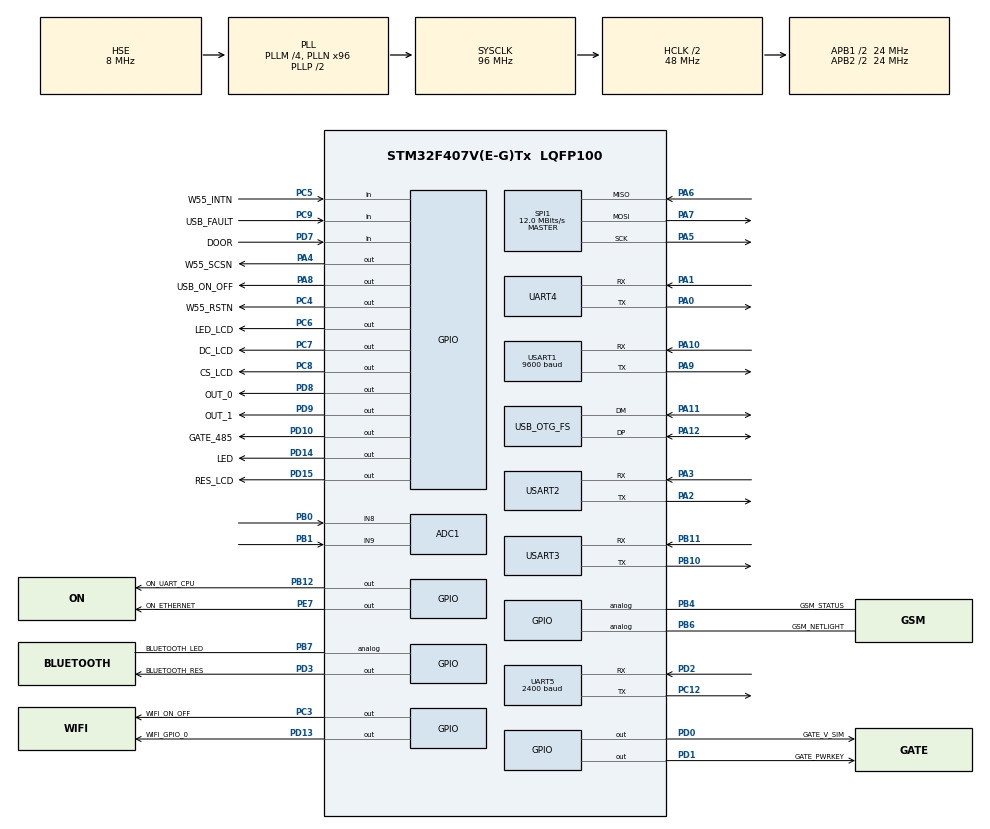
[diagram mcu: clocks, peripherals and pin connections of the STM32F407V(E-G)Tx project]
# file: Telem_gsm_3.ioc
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ADC1.Channel-1\#ChannelRegularConversion=ADC_CHANNEL_8
ADC1.Channel-2\#ChannelRegularConversion=ADC_CHANNEL_9
ADC1.Channel-3\#ChannelRegularConversion=ADC_CHANNEL_TEMPSENSOR
ADC1.InjNumberOfConversion=0
ADC1.NbrOfConversion=3
ADC1.NbrOfConversionFlag=1
ADC1.Rank-1\#ChannelRegularConversion=1
ADC1.Rank-2\#ChannelRegularConversion=2
ADC1.Rank-3\#ChannelRegularConversion=3
ADC1.SamplingTime-1\#ChannelRegularConversion=ADC_SAMPLETIME_144CYCLES
ADC1.SamplingTime-2\#ChannelRegularConversion=ADC_SAMPLETIME_144CYCLES
ADC1.SamplingTime-3\#ChannelRegularConversion=ADC_SAMPLETIME_144CYCLES
ADC1.ScanConvMode=ENABLE
ADC1.master=1
Dma.ADC1.2.Direction=DMA_PERIPH_TO_MEMORY
Dma.ADC1.2.FIFOMode=DMA_FIFOMODE_DISABLE
Dma.ADC1.2.Instance=DMA2_Stream0
Dma.ADC1.2.MemDataAlignment=DMA_MDATAALIGN_HALFWORD
Dma.ADC1.2.MemInc=DMA_MINC_ENABLE
Dma.ADC1.2.Mode=DMA_NORMAL
Dma.ADC1.2.PeriphDataAlignment=DMA_PDATAALIGN_HALFWORD
Dma.ADC1.2.PeriphInc=DMA_PINC_DISABLE
Dma.ADC1.2.Priority=DMA_PRIORITY_LOW
Dma.Request0=USART1_RX
Dma.Request1=USART1_TX
Dma.Request2=ADC1
Dma.USART1_RX.0.Direction=DMA_PERIPH_TO_MEMORY
Dma.USART1_RX.0.FIFOMode=DMA_FIFOMODE_DISABLE
Dma.USART1_RX.0.Instance=DMA2_Stream2
Dma.USART1_RX.0.MemDataAlignment=DMA_MDATAALIGN_BYTE
Dma.USART1_RX.0.MemInc=DMA_MINC_ENABLE
Dma.USART1_RX.0.Mode=DMA_NORMAL
Dma.USART1_RX.0.PeriphDataAlignment=DMA_PDATAALIGN_BYTE
Dma.USART1_RX.0.PeriphInc=DMA_PINC_DISABLE
Dma.USART1_RX.0.Priority=DMA_PRIORITY_LOW
Dma.USART1_TX.1.Direction=DMA_MEMORY_TO_PERIPH
Dma.USART1_TX.1.FIFOMode=DMA_FIFOMODE_DISABLE
Dma.USART1_TX.1.Instance=DMA2_Stream7
Dma.USART1_TX.1.MemDataAlignment=DMA_MDATAALIGN_BYTE
Dma.USART1_TX.1.MemInc=DMA_MINC_ENABLE
Dma.USART1_TX.1.Mode=DMA_NORMAL
Dma.USART1_TX.1.PeriphDataAlignment=DMA_PDATAALIGN_BYTE
Dma.USART1_TX.1.PeriphInc=DMA_PINC_DISABLE
Dma.USART1_TX.1.Priority=DMA_PRIORITY_LOW
IWDG.Prescaler=IWDG_PRESCALER_256
Mcu.Family=STM32F4
Mcu.Name=STM32F407V(E-G)Tx
Mcu.Package=LQFP100
NVIC.DMA2_Stream0_IRQn=true\:0\:0\:false\:false\:true\:false\:true\:true
NVIC.DMA2_Stream2_IRQn=true\:0\:0\:false\:false\:true\:false\:true\:true
NVIC.DMA2_Stream7_IRQn=true\:0\:0\:false\:false\:true\:false\:true\:true
NVIC.PriorityGroup=NVIC_PRIORITYGROUP_4
NVIC.TIM2_IRQn=true\:0\:0\:false\:false\:true\:true\:true\:true
NVIC.UART4_IRQn=true\:0\:0\:false\:false\:true\:true\:true\:true
NVIC.UART5_IRQn=true\:0\:0\:false\:false\:true\:true\:true\:true
NVIC.USART1_IRQn=true\:0\:0\:false\:false\:true\:true\:true\:true
NVIC.USART2_IRQn=true\:0\:0\:false\:false\:true\:true\:true\:true
NVIC.USART3_IRQn=true\:0\:0\:false\:false\:true\:true\:true\:true
NimaLTD.I-CUBE-ATC.4.2.2.ATC_DEBUG=ATC_DEBUG_ENABLE
NimaLTD.I-CUBE-ATC.4.2.2.DriverJjATC=true
PA0-WKUP.Mode=Asynchronous
PA0-WKUP.Signal=UART4_TX
PA1.Mode=Asynchronous
PA1.Signal=UART4_RX
PA10.Mode=Asynchronous
PA10.Signal=USART1_RX
PA11.Mode=Device_Only
PA11.Signal=USB_OTG_FS_DM
PA12.Mode=Device_Only
PA12.Signal=USB_OTG_FS_DP
PA13.Mode=Serial_Wire
PA13.Signal=SYS_JTMS-SWDIO
PA14.Mode=Serial_Wire
PA14.Signal=SYS_JTCK-SWCLK
PA2.Mode=Asynchronous
PA2.Signal=USART2_TX
PA3.Mode=Asynchronous
PA3.Signal=USART2_RX
PA4.GPIO_Label=W55_SCSN
PA4.GPIO_Speed=GPIO_SPEED_FREQ_MEDIUM
PA4.Signal=GPIO_Output
PA5.Mode=Full_Duplex_Master
PA5.Signal=SPI1_SCK
PA6.Mode=Full_Duplex_Master
PA6.Signal=SPI1_MISO
PA7.Mode=Full_Duplex_Master
PA7.Signal=SPI1_MOSI
PA8.GPIO_Label=USB_ON_OFF
PA8.Signal=GPIO_Output
PA9.Mode=Asynchronous
PA9.Signal=USART1_TX
PB0.Signal=ADCx_IN8
PB1.Signal=ADCx_IN9
PB10.Mode=Asynchronous
PB10.Signal=USART3_TX
PB11.Mode=Asynchronous
PB11.Signal=USART3_RX
PB12.GPIO_Label=ON_UART_CPU
PB12.Signal=GPIO_Output
PB4.GPIO_Label=GSM_STATUS
PB4.Signal=GPIO_Analog
PB6.GPIO_Label=GSM_NETLIGHT
PB6.GPIO_PuPd=GPIO_NOPULL
PB6.Signal=GPIO_Analog
PB7.GPIO_Label=BLUETOOTH_LED
PB7.Signal=GPIO_Analog
PC12.Mode=Asynchronous
PC12.Signal=UART5_TX
PC3.GPIO_Label=WIFI_ON_OFF
PC3.Signal=GPIO_Output
PC4.GPIO_Label=W55_RSTN
PC4.GPIO_Speed=GPIO_SPEED_FREQ_MEDIUM
PC4.Signal=GPIO_Output
PC5.GPIO_Label=W55_INTN
PC5.Signal=GPIO_Input
PC6.GPIO_Label=LED_LCD
PC6.Signal=GPIO_Output
PC7.GPIO_Label=DC_LCD
PC7.Signal=GPIO_Output
PC8.GPIO_Label=CS_LCD
PC8.Signal=GPIO_Output
PC9.GPIO_Label=USB_FAULT
PC9.Signal=GPIO_Input
PD0.GPIO_Label=GATE_V_SIM
PD0.GPIO_ModeDefaultOutputPP=GPIO_MODE_OUTPUT_PP
PD0.GPIO_PuPd=GPIO_NOPULL
PD0.PinState=GPIO_PIN_RESET
PD0.Signal=GPIO_Output
PD1.GPIO_Label=GATE_PWRKEY
PD1.Signal=GPIO_Output
PD10.GPIO_Label=GATE_485
PD10.GPIO_ModeDefaultOutputPP=GPIO_MODE_OUTPUT_OD
PD10.GPIO_PuPd=GPIO_NOPULL
PD10.PinState=GPIO_PIN_SET
PD10.Signal=GPIO_Output
PD13.GPIO_Label=WIFI_GPIO_0
PD13.Signal=GPIO_Output
PD14.GPIO_Label=LED
PD14.PinState=GPIO_PIN_RESET
PD14.Signal=GPIO_Output
PD15.GPIO_Label=RES_LCD
PD15.Signal=GPIO_Output
PD2.Mode=Asynchronous
PD2.Signal=UART5_RX
PD3.GPIO_Label=BLUETOOTH_RES
PD3.PinState=GPIO_PIN_SET
PD3.Signal=GPIO_Output
PD7.GPIO_Label=DOOR
PD7.Signal=GPIO_Input
PD8.GPIO_Label=OUT_0
PD8.Signal=GPIO_Output
PD9.GPIO_Label=OUT_1
PD9.Signal=GPIO_Output
PE7.GPIO_Label=ON_ETHERNET
PE7.PinState=GPIO_PIN_RESET
PE7.Signal=GPIO_Output
PH0-OSC_IN.Mode=HSE-External-Oscillator
PH0-OSC_IN.Signal=RCC_OSC_IN
PH1-OSC_OUT.Mode=HSE-External-Oscillator
PH1-OSC_OUT.Signal=RCC_OSC_OUT
ProjectManager.HeapSize=0x2000
ProjectManager.StackSize=0x1000
ProjectManager.TargetToolchain=STM32CubeIDE
RCC.48MHZClocksFreq_Value=48000000
RCC.AHBCLKDivider=RCC_SYSCLK_DIV2
RCC.AHBFreq_Value=48000000
RCC.APB1CLKDivider=RCC_HCLK_DIV2
RCC.APB1Freq_Value=24000000
RCC.APB1TimFreq_Value=48000000
RCC.APB2CLKDivider=RCC_HCLK_DIV2
RCC.APB2Freq_Value=24000000
RCC.APB2TimFreq_Value=48000000
RCC.CortexFreq_Value=48000000
RCC.HCLKFreq_Value=48000000
RCC.HSE_VALUE=8000000
RCC.HSI_VALUE=16000000
RCC.LSE_VALUE=32768
RCC.PLLM=4
RCC.PLLN=96
RCC.SYSCLKFreq_VALUE=96000000
RCC.SYSCLKSource=RCC_SYSCLKSOURCE_PLLCLK
RCC.VCOOutputFreq_Value=192000000
SH.ADCx_IN8.0=ADC1_IN8,IN8
SH.ADCx_IN9.0=ADC1_IN9,IN9
SPI1.CalculateBaudRate=12.0 MBits/s
SPI1.Direction=SPI_DIRECTION_2LINES
SPI1.Mode=SPI_MODE_MASTER
SPI1.VirtualType=VM_MASTER
TIM2.Period=50000
TIM2.Prescaler=4799
UART4.VirtualMode=Asynchronous
UART5.BaudRate=2400
UART5.VirtualMode=Asynchronous
USART1.BaudRate=9600
USART1.VirtualMode=VM_ASYNC
USART2.VirtualMode=VM_ASYNC
USART3.VirtualMode=VM_ASYNC
USB_OTG_FS.VirtualMode=Device_Only
VP_ADC1_TempSens_Input.Mode=IN-TempSens
VP_IWDG_VS_IWDG.Mode=IWDG_Activate
VP_NimaLTD.I-CUBE-ATC_VS_DriverJjATC_1.0.0_4.2.2.Mode=DriverJjATC
VP_TIM2_VS_ClockSourceINT.Mode=Internal
board=custom

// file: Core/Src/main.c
/* USER CODE BEGIN Header */
/**
  ******************************************************************************
  * @file           : main.c
  * @brief          : Main program body
  ******************************************************************************
  * @attention
  *
  * Copyright (c) 2024 STMicroelectronics.
  * All rights reserved.
  *
  * This software is licensed under terms that can be found in the LICENSE file
  * in the root directory of this software component.
  * If no LICENSE file comes with this software, it is provided AS-IS.
  *
  ******************************************************************************
  */
/* USER CODE END Header */
#include "main.h"
#include "adc.h"
#include "dma.h"
#include "iwdg.h"
#include "spi.h"
#include "tim.h"
#include "usart.h"
#include "usb_otg.h"
#include "gpio.h"

/* USER CODE BEGIN Includes */
#include "atc.h"
#include <stdio.h>
#include <string.h>
#include "station.h"

/* USER CODE END Includes */

/* USER CODE BEGIN PV */
//#############################################################
//UART_HandleTypeDef huart5; - RS485
//UART_HandleTypeDef huart1; - GSM
//UART_HandleTypeDef huart2; - Bluetooth
//UART_HandleTypeDef huart3; - uart-cpu

// Add atc.c str.365 =>     hAtc->Events = ev;

uint32_t  timer1 = 0;
uint32_t  timer2 = 0;
uint32_t  timer3 = 0;
uint32_t  timer4 = 0;

ATC_HandleTypeDef gsm;
int resp = 0;
int resp2 = 0;
int flag_sim800_error = 0;
int flagCommand2 = 0;
char command2[15] = {0,};
char strStation[15] = {0,};

void cbCommand2Receive(const char *str){
	flagCommand2 = 1;
	strncpy( command2, str, 14);
}

const ATC_EventTypeDef events[] = {
		{ "$2|", cbCommand2Receive },

};

struct telemetriaData telData;
char telString[130] = {0,};
char tempString[15] = {0,};

uint8_t rx_buff_fromStation[50] = {0,};
uint8_t temp_buff_fromStation[50] = {0,};
volatile uint8_t flagReceiveFromStation = 0;

//bluetooth module
uint8_t rx_buff_fromBluetooth[50] = {0,};

//flag adc
volatile uint8_t flagAdcDmaComplit = 0;
volatile uint16_t adc[3] = {0,}; //3 results
int u_bat = 0;
int u_5v = 0;
int temperature = 0;

//220
volatile uint8_t flagPower220 = 0;
volatile int u220 =0;
volatile int count_u220 =0;
int startAdcGetU220();

void sim800_power_on();
void sim800_power_off();
int reset_sim800_connect_to_server();

/* USER CODE END PV */

void SystemClock_Config(void);

/* USER CODE BEGIN 0 */
void HAL_UARTEx_RxEventCallback(UART_HandleTypeDef *huart, uint16_t Size){
	if( huart->Instance == USART1 ){
		ATC_IdleLineCallback(&gsm, Size);
	}

	if(huart->Instance == UART5){
		  uint16_t i;
		  for( i = 0; i < Size; i++){
			  temp_buff_fromStation[i] = rx_buff_fromStation[i];
		  }
		  temp_buff_fromStation[i] = '\n';
		  i++;
		  temp_buff_fromStation[i] = '\0';
		  flagReceiveFromStation = 1;

		  //delete
		  //printf( (char *)temp_buff_rs485 );

		  HAL_UARTEx_ReceiveToIdle_IT(&huart5, rx_buff_fromStation, 50);
	}

	// from Bluetooth
	if(huart->Instance == USART2){

		  //delete
		  printf( (char *)rx_buff_fromBluetooth );

		  HAL_UARTEx_ReceiveToIdle_IT(&huart2, rx_buff_fromBluetooth, 50);
	}
}

void HAL_ADC_ConvCpltCallback(ADC_HandleTypeDef* hadc) {
    if(hadc->Instance == ADC1) {
        flagAdcDmaComplit = 1;
    }
}

//void HAL_TIM_PeriodElapsedCallback(TIM_HandleTypeDef *htim)
//{
//        if(htim->Instance == TIM2) //check if the interrupt comes from TIM1
//        {
//                HAL_ResumeTick();
//                HAL_GPIO_TogglePin(LED_GPIO_Port, LED_Pin);
//        }
//}

/* USER CODE END 0 */

int main(void)
{

  /* MCU Configuration--------------------------------------------------------*/

  /* Reset of all peripherals, Initializes the Flash interface and the Systick. */
  HAL_Init();

  /* Configure the system clock */
  SystemClock_Config();

  /* Initialize all configured peripherals */
  MX_GPIO_Init();
  MX_DMA_Init();
  MX_TIM2_Init();
  MX_ADC1_Init();
  MX_USART2_UART_Init();
  MX_UART5_Init();
  MX_USART3_UART_Init();
  MX_USART1_UART_Init();
  MX_SPI1_Init();
  MX_UART4_Init();
  MX_USB_OTG_FS_PCD_Init();
  MX_IWDG_Init();
  /* USER CODE BEGIN 2 */

//------ Off all device ---------------------------------------------------------------

	printf( "\n =====> Start! \n\n" );

//
//	printf( "press button \n\n" );
//	HAL_Delay(5000);
//	HAL_UARTEx_ReceiveToIdle_IT(&huart2, rx_buff_fromBluetooth, 50);
//	HAL_Delay(100);
//	HAL_UART_Transmit(&huart2, (uint8_t *)"AT+SLEEPEN=1\r\n", 14, 200);
//	HAL_Delay(200);
//	HAL_UART_Transmit(&huart2, (uint8_t *)"AT+TS=1\r\n", 9, 200);

  	while(1){
  		u220 = startAdcGetU220();
  		if (u220 > 40) {
  			break;
  		}
  		HAL_Delay(500);
  		HAL_PWR_EnterSTANDBYMode();
  	}

//-------------------------------------------------------------------------------------
  //  //Ethernet on!
  //  HAL_GPIO_WritePin(ON_ETHERNET_GPIO_Port, ON_ETHERNET_Pin, GPIO_PIN_RESET);

    //Bluetooth Reset!
    HAL_GPIO_WritePin(GPIOD, BLUETOOTH_RES_Pin, GPIO_PIN_RESET);
    HAL_Delay(1000);
    HAL_GPIO_WritePin(GPIOD, BLUETOOTH_RES_Pin, GPIO_PIN_SET);

    //RS485 on!
    HAL_GPIO_WritePin(GPIOD, GATE_485_Pin, GPIO_PIN_RESET);
    //RS485 off!
    //HAL_GPIO_WritePin(GPIOD, GATE_485_Pin, GPIO_PIN_SET);

    //On Uart CPU
    HAL_GPIO_WritePin(ON_UART_CPU_GPIO_Port, ON_UART_CPU_Pin, GPIO_PIN_SET);

  ////  WIFI on
  //  HAL_GPIO_WritePin(GPIOC, WIFI_ON_OFF_Pin, GPIO_PIN_SET);
//-----------------------------------------------------------------------------------------

	HAL_UARTEx_ReceiveToIdle_IT(&huart5, rx_buff_fromStation, 50);

    //gsm modem
    ATC_Init(&gsm, &huart1, 512, "GSM");
    ATC_SetEvents(&gsm, events);

    for(int i = 0; i < 10; i++) {
    	if( reset_sim800_connect_to_server() == 1 ){
    		printf( "reset_sim800_connect_to_server(pos0) == 1  => connection Ok!\n" );
    		break;
    	} else {
    		printf( "reset_sim800_connect_to_server(pos0) != 1  => connection Err!\n" );
    	}
    }

  /* USER CODE END 2 */

  /* Infinite loop */
  while (1)
  {

    /* USER CODE BEGIN 3 */

		if((HAL_GetTick() - timer1) > 500) { //  500ms

			HAL_GPIO_TogglePin(LED_GPIO_Port, LED_Pin);
			timer1 = HAL_GetTick();
		}

		if((HAL_GetTick() - timer3) > 200) { //  200ms
			//is '$2|' command receive?
			ATC_Loop(&gsm);

			//check command receive
			if (flagCommand2 == 1){
				flagCommand2 = 0;

 				if ( strServerToStation(strStation, command2, 15) == 0 ){
 					// query data from station change current
 					HAL_UART_Transmit(&huart5, (uint8_t *)strStation, strlen(strStation), 400);
 				}

			}

			timer3 = HAL_GetTick();
		}

		if((HAL_GetTick() - timer2) > 60000) { //  60sec
			//
			// query data from station
			HAL_UART_Transmit(&huart5, (uint8_t *)"$?;", 3, 200);
			HAL_Delay(200);

			if( flagReceiveFromStation ) {
				decodeStrToStruct(&telData, (char *)temp_buff_fromStation);
				flagReceiveFromStation = 0;
			} else{
				defaultStrToStruct(&telData);
			}

			// signal quality
			resp = ATC_SendReceive(&gsm, "AT+CSQ\r\n", 100, NULL, 100, 2, "\r\nOK\r\n", "\r\nERROR\r\n");
			if(resp) {
				//printf( (char *)gsm.pReadBuff );
				if (gsm.pReadBuff[5] == 'Q'){
					gsm.pReadBuff[10] = '\0';
					strcpy( telData.sq, (char *)&gsm.pReadBuff[8]);
				}
			}

			// u_bat; 220v; temperature (run adc)
			HAL_ADC_Start_DMA(&hadc1, (uint32_t*)adc, 3); // run ADC
			HAL_Delay(1);
			if( flagAdcDmaComplit ) {

				flagAdcDmaComplit = 0;

				HAL_ADC_Stop_DMA(&hadc1);

				u_bat = (int)(((adc[0] * 6.6) / 409.5) + 0.5) ;	// batery
				u_5v = (int)(((adc[1] * 6.6) / 409.5) + 0.5) ;	// 5 volt
				temperature = (int)((((adc[2] * 3.3) / 4095) - 0.76) / 0.0025 + 25.0) ;	// temperature
				//
				sprintf(tempString, "%i", u_bat);
				strcpy( telData.u_bat, tempString);
				//
				//!!!!!!!!!!!!!!!!!!!!!!!!!!!!!!!!!!!!!!!!!!!!!!!!!!
				//todo del:
				//strcpy( telData.u_bat, "42");
				//
				if( u_5v > 40){
					sprintf(tempString, "%s", "1");
					count_u220 = 0;
				}
				else{
					sprintf(tempString, "%s", "0");
					count_u220++;
				}
				strcpy( telData.u220, tempString);
				//
				sprintf(tempString, "%+i", temperature);
				strcpy( telData.temperature, tempString);

				adc[0] = 0;
				adc[1] = 0;
				adc[2] = 0;
			}

			// door
			if ( HAL_GPIO_ReadPin(DOOR_GPIO_Port, DOOR_Pin) ) {
				//close
				sprintf(tempString, "%s", "0");
			}else {
				//open
				sprintf(tempString, "%s", "1");
			}
			strcpy( telData.door, tempString);

			sprintf(telString, "%s|%s|%s|%s|%s|%s|%s|%s|%s|%s|%s|%s|",
					telData.id,
					telData.i,
					telData.u,
					telData.p,
					telData.u_bat,
					telData.sq,
					telData.u220,
					telData.door,
					telData.temperature,
					telData.power,
					telData.i_max,
					telData.t_max
					);
			uint8_t crc = crc_8(telString);
			sprintf(tempString, "%u;\x1A", crc);
			strcat(telString, tempString);

			resp = ATC_SendReceive(&gsm, "AT+CIPSEND\r\n", 100, NULL, 100, 2, "\r\n> ", "\r\nERROR\r\n");

			resp2 = ATC_SendReceive(&gsm, telString, 100, NULL, 2000, 2, "\r\nSEND OK\r\n", "\r\nERROR\r\n");

			if ( (resp == 1) && (resp2 == 1) ){
				flag_sim800_error = 0;
			} else {
				flag_sim800_error = 1;
			}

			timer2 = HAL_GetTick();
		}

		if ( flag_sim800_error == 1 ){
			flag_sim800_error = 0;

		    for(int i = 0; i < 10; i++) {
		    	if( reset_sim800_connect_to_server() == 1 ){
		    		printf( "reset_sim800_connect_to_server(pos1) == 1  => connection Ok!\n" );
		    		break;
		    	} else {
		    		printf( "reset_sim800_connect_to_server(pos1) != 1  => connection Err!\n" );
		    	}
		    }
		}

//		if((HAL_GetTick() - timer4) > 43200000) { //  12hours
//
//		    for(int i = 0; i < 10; i++) {
//		    	if( reset_sim800_connect_to_server() == 1 ){
//		    		printf( "reset_sim800_connect_to_server(pos2) == 1  => connection Ok!\n" );
//		    		break;
//		    	} else {
//		    		printf( "reset_sim800_connect_to_server(pos2) != 1  => connection Err!\n" );
//		    	}
//		    }
//			timer4 = HAL_GetTick();
//		}

		HAL_IWDG_Refresh(&hiwdg); //reset watchdog

		if(count_u220 > 20){
			count_u220 = 0;
			// standby
			HAL_PWR_EnterSTANDBYMode();
		}

  }
  /* USER CODE END 3 */
}

void SystemClock_Config(void)
{
  RCC_OscInitTypeDef RCC_OscInitStruct = {0};
  RCC_ClkInitTypeDef RCC_ClkInitStruct = {0};

  /** Configure the main internal regulator output voltage
  */
  __HAL_RCC_PWR_CLK_ENABLE();
  __HAL_PWR_VOLTAGESCALING_CONFIG(PWR_REGULATOR_VOLTAGE_SCALE1);

  /** Initializes the RCC Oscillators according to the specified parameters
  * in the RCC_OscInitTypeDef structure.
  */
  RCC_OscInitStruct.OscillatorType = RCC_OSCILLATORTYPE_LSI|RCC_OSCILLATORTYPE_HSE;
  RCC_OscInitStruct.HSEState = RCC_HSE_ON;
  RCC_OscInitStruct.LSIState = RCC_LSI_ON;
  RCC_OscInitStruct.PLL.PLLState = RCC_PLL_ON;
  RCC_OscInitStruct.PLL.PLLSource = RCC_PLLSOURCE_HSE;
  RCC_OscInitStruct.PLL.PLLM = 4;
  RCC_OscInitStruct.PLL.PLLN = 96;
  RCC_OscInitStruct.PLL.PLLP = RCC_PLLP_DIV2;
  RCC_OscInitStruct.PLL.PLLQ = 4;
  if (HAL_RCC_OscConfig(&RCC_OscInitStruct) != HAL_OK)
  {
    Error_Handler();
  }

  /** Initializes the CPU, AHB and APB buses clocks
  */
  RCC_ClkInitStruct.ClockType = RCC_CLOCKTYPE_HCLK|RCC_CLOCKTYPE_SYSCLK
                              |RCC_CLOCKTYPE_PCLK1|RCC_CLOCKTYPE_PCLK2;
  RCC_ClkInitStruct.SYSCLKSource = RCC_SYSCLKSOURCE_PLLCLK;
  RCC_ClkInitStruct.AHBCLKDivider = RCC_SYSCLK_DIV2;
  RCC_ClkInitStruct.APB1CLKDivider = RCC_HCLK_DIV2;
  RCC_ClkInitStruct.APB2CLKDivider = RCC_HCLK_DIV2;

  if (HAL_RCC_ClockConfig(&RCC_ClkInitStruct, FLASH_LATENCY_1) != HAL_OK)
  {
    Error_Handler();
  }
}

/* USER CODE BEGIN 4 */
int _write(int file, char *ptr, int len)
{
  (void)file;
  int DataIdx;

  for (DataIdx = 0; DataIdx < len; DataIdx++)
  {
    ITM_SendChar(*ptr++);
  }
  return len;
}

void sim800_power_on() {

    //Sim800 PWRKEY = hight
    HAL_GPIO_WritePin(GPIOD, GATE_PWRKEY_Pin, GPIO_PIN_RESET);
    //Sim800 PowerOn = On
    HAL_GPIO_WritePin(GPIOD, GATE_V_SIM_Pin, GPIO_PIN_SET);
    HAL_Delay(700);
    HAL_GPIO_WritePin(GPIOD, GATE_PWRKEY_Pin, GPIO_PIN_SET);
    HAL_Delay(1200);
    HAL_GPIO_WritePin(GPIOD, GATE_PWRKEY_Pin, GPIO_PIN_RESET);
}

void sim800_power_off() {
    //Sim800 PowerOn = Off
    HAL_GPIO_WritePin(GPIOD, GATE_V_SIM_Pin, GPIO_PIN_RESET);
}

int reset_sim800_connect_to_server() {

	int resp = 0;

	HAL_IWDG_Refresh(&hiwdg); //reset wdg

    sim800_power_off();
    HAL_Delay(5000);
    sim800_power_on();
    HAL_Delay(5000);

    HAL_IWDG_Refresh(&hiwdg); //reset wdg

    for(int i = 0; i < 1000; i++) {
    	HAL_Delay(100);
    	HAL_IWDG_Refresh(&hiwdg); //reset wdg
    	resp = ATC_SendReceive(&gsm, "AT\r\n", 100, NULL, 100, 2, "\r\nOK\r\n", "\r\nERROR\r\n");
    	if( resp == 1 ) break;
    }

    HAL_IWDG_Refresh(&hiwdg); //reset wdg

    HAL_Delay(25000);

    HAL_IWDG_Refresh(&hiwdg); //reset wdg

    resp = ATC_SendReceive(&gsm, "AT\r\n", 100, NULL, 100, 2, "\r\nOK\r\n", "\r\nERROR\r\n");
    if (resp != 1) return resp;
    // echo off
    resp = ATC_SendReceive(&gsm, "ATE0\r\n", 100, NULL, 100, 2, "\r\nOK\r\n", "\r\nERROR\r\n");
    if (resp != 1) return resp;
    // off all calls
    resp = ATC_SendReceive(&gsm, "AT+GSMBUSY=1\r\n", 100, NULL, 100, 2, "\r\nOK\r\n", "\r\nERROR\r\n");
    if (resp != 1) return resp;
    // sms not in TE
    resp = ATC_SendReceive(&gsm, "AT+CNMI=0,0\r\n", 100, NULL, 100, 2, "\r\nOK\r\n", "\r\nERROR\r\n");
    if (resp != 1) return resp;
    // sms text mode
    resp = ATC_SendReceive(&gsm, "AT+CMGF=1\r\n", 100, NULL, 100, 2, "\r\nOK\r\n", "\r\nERROR\r\n");
    if (resp != 1) return resp;
    // signal quality
    resp = ATC_SendReceive(&gsm, "AT+CSQ\r\n", 100, NULL, 100, 2, "\r\nOK\r\n", "\r\nERROR\r\n");
    if (resp != 1) return resp;
    // phone activity status
    resp = ATC_SendReceive(&gsm, "AT+CPAS\r\n", 100, NULL, 100, 2, "\r\nOK\r\n", "\r\nERROR\r\n");
    if (resp != 1) return resp;

    // deactivate gprs context
    resp = ATC_SendReceive(&gsm, "AT+CIPSHUT\r\n", 100, NULL, 5000, 2, "\r\nSHUT OK\r\n", "\r\nERROR\r\n");
    if (resp != 1) return resp;
    // single ip conection
    resp = ATC_SendReceive(&gsm, "AT+CIPMUX=0\r\n", 100, NULL, 100, 2, "\r\nOK\r\n", "\r\nERROR\r\n");
    if (resp != 1) return resp;
    // attach gprs
    resp = ATC_SendReceive(&gsm, "AT+CGATT=1\r\n", 100, NULL, 100, 2, "\r\nOK\r\n", "\r\nERROR\r\n");
    if (resp != 1) return resp;
    // apn
    resp = ATC_SendReceive(&gsm, "AT+CSTT=\"wap.orange.md\"\r\n", 100, NULL, 100, 2, "\r\nOK\r\n", "\r\nERROR\r\n");
    if (resp != 1) return resp;
    // bring wireless connection
    resp = ATC_SendReceive(&gsm, "AT+CIICR\r\n", 100, NULL, 5000, 2, "\r\nOK\r\n", "\r\nERROR\r\n");
    if (resp != 1) return resp;
    // get local ip address => resp==0 no OK
    resp = ATC_SendReceive(&gsm, "AT+CIFSR\r\n", 100, NULL, 1000, 2, "\r\nOK\r\n", "\r\nERROR\r\n");
    //if (resp != 1) return resp;

    resp = ATC_SendReceive(&gsm, "AT+CIPSTART=\"TCP\",\"scz.pge.md\",\"16992\"\r\n", 100, NULL, 5000, 2, "\r\nCONNECT OK\r\n", "\r\nERROR\r\n");

    HAL_IWDG_Refresh(&hiwdg); //reset wdg

    return resp;
}

int startAdcGetU220() {
	// u_bat; 220v; temperature (run adc)
	HAL_ADC_Start_DMA(&hadc1, (uint32_t*)adc, 3); // run ADC
	HAL_Delay(1);
	if( flagAdcDmaComplit ) {

		flagAdcDmaComplit = 0;

		HAL_ADC_Stop_DMA(&hadc1);

		u_5v = (int)(((adc[1] * 6.6) / 409.5) + 0.5) ;	// 5 volt

		return u_5v;
	} else{
		return -1;
	}
}

/* USER CODE END 4 */

void Error_Handler(void)
{
  __disable_irq();
  while (1)
  {
  }
}
